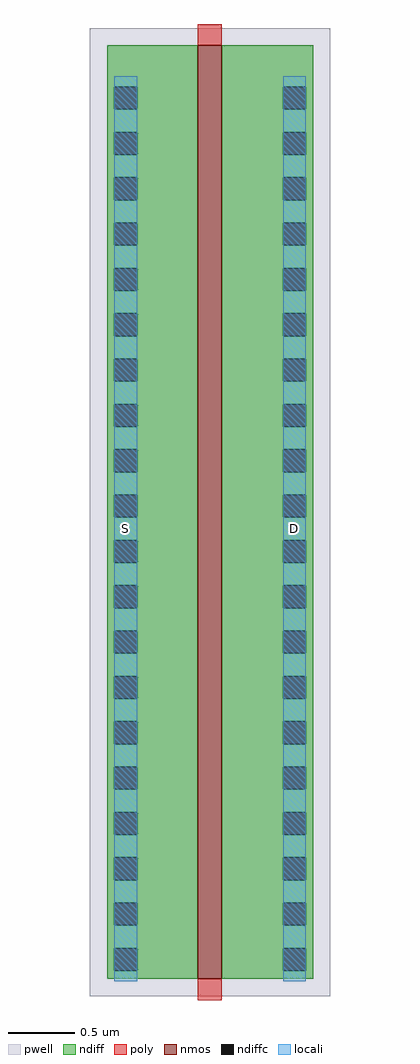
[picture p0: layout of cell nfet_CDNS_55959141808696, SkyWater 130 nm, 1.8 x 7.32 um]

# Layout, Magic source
magic
tech sky130B
magscale 1 2
<< pwell >>
rect -106 -26 143 1426
<< nmos >>
rect 0 0 36 1400
<< ndiff >>
rect -80 0 0 1400
rect 36 0 117 1400
<< poly >>
rect 0 1400 36 1432
rect 0 -32 36 0
<< locali >>
rect -125 -4 -91 1354
rect 128 -4 162 1354
use DFL1sd2_CDNS_55959141808679  DFL1sd2_CDNS_55959141808679_0
transform -1 0 -80 0 1 0
box -26 -26 82 1426
use DFL1sd2_CDNS_55959141808679  DFL1sd2_CDNS_55959141808679_1
transform 1 0 117 0 1 0
box -26 -26 82 1426
<< labels >>
flabel comment s 145 675 145 675 0 FreeSans 300 0 0 0 D
flabel comment s -108 675 -108 675 0 FreeSans 300 0 0 0 S
<< properties >>
string GDS_END 43009866
string GDS_FILE $PDKPATH/libs.ref/sky130_fd_io/gds/sky130_fd_io.gds
string GDS_START 43008912
<< end >>

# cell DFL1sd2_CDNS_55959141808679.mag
magic
tech sky130B
magscale 1 2
<< pwell >>
rect -26 -26 82 1426
<< ndiff >>
rect 0 1338 56 1400
rect 0 1304 11 1338
rect 45 1304 56 1338
rect 0 1270 56 1304
rect 0 1236 11 1270
rect 45 1236 56 1270
rect 0 1202 56 1236
rect 0 1168 11 1202
rect 45 1168 56 1202
rect 0 1134 56 1168
rect 0 1100 11 1134
rect 45 1100 56 1134
rect 0 1066 56 1100
rect 0 1032 11 1066
rect 45 1032 56 1066
rect 0 998 56 1032
rect 0 964 11 998
rect 45 964 56 998
rect 0 930 56 964
rect 0 896 11 930
rect 45 896 56 930
rect 0 862 56 896
rect 0 828 11 862
rect 45 828 56 862
rect 0 794 56 828
rect 0 760 11 794
rect 45 760 56 794
rect 0 726 56 760
rect 0 692 11 726
rect 45 692 56 726
rect 0 658 56 692
rect 0 624 11 658
rect 45 624 56 658
rect 0 590 56 624
rect 0 556 11 590
rect 45 556 56 590
rect 0 522 56 556
rect 0 488 11 522
rect 45 488 56 522
rect 0 454 56 488
rect 0 420 11 454
rect 45 420 56 454
rect 0 386 56 420
rect 0 352 11 386
rect 45 352 56 386
rect 0 318 56 352
rect 0 284 11 318
rect 45 284 56 318
rect 0 250 56 284
rect 0 216 11 250
rect 45 216 56 250
rect 0 182 56 216
rect 0 148 11 182
rect 45 148 56 182
rect 0 114 56 148
rect 0 80 11 114
rect 45 80 56 114
rect 0 46 56 80
rect 0 12 11 46
rect 45 12 56 46
rect 0 0 56 12
<< ndiffc >>
rect 11 1304 45 1338
rect 11 1236 45 1270
rect 11 1168 45 1202
rect 11 1100 45 1134
rect 11 1032 45 1066
rect 11 964 45 998
rect 11 896 45 930
rect 11 828 45 862
rect 11 760 45 794
rect 11 692 45 726
rect 11 624 45 658
rect 11 556 45 590
rect 11 488 45 522
rect 11 420 45 454
rect 11 352 45 386
rect 11 284 45 318
rect 11 216 45 250
rect 11 148 45 182
rect 11 80 45 114
rect 11 12 45 46
<< locali >>
rect 11 1338 45 1354
rect 11 1270 45 1304
rect 11 1202 45 1236
rect 11 1134 45 1168
rect 11 1066 45 1100
rect 11 998 45 1032
rect 11 930 45 964
rect 11 862 45 896
rect 11 794 45 828
rect 11 726 45 760
rect 11 658 45 692
rect 11 590 45 624
rect 11 522 45 556
rect 11 454 45 488
rect 11 386 45 420
rect 11 318 45 352
rect 11 250 45 284
rect 11 182 45 216
rect 11 114 45 148
rect 11 46 45 80
rect 11 -4 45 12
<< properties >>
string GDS_END 2731622
string GDS_FILE $PDKPATH/libs.ref/sky130_fd_io/gds/sky130_fd_io.gds
string GDS_START 2730146
<< end >>
